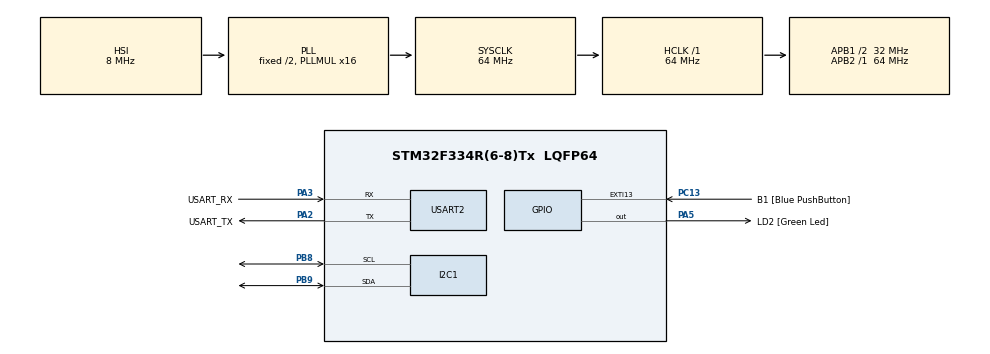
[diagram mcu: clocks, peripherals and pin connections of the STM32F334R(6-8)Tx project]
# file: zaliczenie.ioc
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I2C1.Timing=0x00201D2B
Mcu.Family=STM32F3
Mcu.Name=STM32F334R(6-8)Tx
Mcu.Package=LQFP64
NVIC.PriorityGroup=NVIC_PRIORITYGROUP_0
PA13.GPIO_Label=TMS
PA13.Mode=Serial_Wire
PA13.Signal=SYS_JTMS-SWDIO
PA14.GPIO_Label=TCK
PA14.Mode=Serial_Wire
PA14.Signal=SYS_JTCK-SWCLK
PA2.GPIO_Label=USART_TX
PA2.Mode=Asynchronous
PA2.Signal=USART2_TX
PA3.GPIO_Label=USART_RX
PA3.Mode=Asynchronous
PA3.Signal=USART2_RX
PA5.GPIO_Label=LD2 [Green Led]
PA5.Signal=GPIO_Output
PB3.GPIO_Label=SWO
PB3.Signal=SYS_JTDO-TRACESWO
PB8.Mode=I2C
PB8.Signal=I2C1_SCL
PB9.Mode=I2C
PB9.Signal=I2C1_SDA
PC13.GPIO_Label=B1 [Blue PushButton]
PC13.GPIO_ModeDefaultEXTI=GPIO_MODE_IT_FALLING
PC13.Signal=GPXTI13
PC14\ /\ OSC32_IN.Mode=LSE-External-Oscillator
PC14\ /\ OSC32_IN.Signal=RCC_OSC32_IN
PC15\ /\ OSC32_OUT.GPIO_Label=RCC_OSC32_OUT
PC15\ /\ OSC32_OUT.Mode=LSE-External-Oscillator
PC15\ /\ OSC32_OUT.Signal=RCC_OSC32_OUT
PF0\ /\ OSC_IN.Mode=HSE-External-Clock-Source
PF0\ /\ OSC_IN.Signal=RCC_OSC_IN
PF1\ /\ OSC_OUT.Signal=RCC_OSC_OUT
ProjectManager.HeapSize=0x200
ProjectManager.StackSize=0x400
ProjectManager.TargetToolchain=CMake
RCC.AHBFreq_Value=64000000
RCC.APB1CLKDivider=RCC_HCLK_DIV2
RCC.APB1Freq_Value=32000000
RCC.APB1TimFreq_Value=64000000
RCC.APB2Freq_Value=64000000
RCC.APB2TimFreq_Value=64000000
RCC.CortexFreq_Value=64000000
RCC.FLatency-AdvancedSettings=FLASH_LATENCY_2
RCC.HCLKFreq_Value=64000000
RCC.HSE_VALUE=8000000
RCC.HSI_VALUE=8000000
RCC.PLLMUL=RCC_PLL_MUL16
RCC.SYSCLKFreq_VALUE=64000000
RCC.SYSCLKSourceVirtual=RCC_SYSCLKSOURCE_PLLCLK
USART2.VirtualMode-Asynchronous=VM_ASYNC
board=NUCLEO-F334R8

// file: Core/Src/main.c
/* USER CODE BEGIN Header */
/**
  ******************************************************************************
  * @file           : main.c
  * @brief          : Main program body
  ******************************************************************************
  * @attention
  *
  * Copyright (c) 2026 STMicroelectronics.
  * All rights reserved.
  *
  * This software is licensed under terms that can be found in the LICENSE file
  * in the root directory of this software component.
  * If no LICENSE file comes with this software, it is provided AS-IS.
  *
  ******************************************************************************
  */
/* USER CODE END Header */
#include "main.h"

/* USER CODE BEGIN Includes */
#include <stdio.h>
#include <math.h>
#include "string.h"
#include <stdlib.h>

/* USER CODE END Includes */

I2C_HandleTypeDef hi2c1;

UART_HandleTypeDef huart2;

/* USER CODE BEGIN PV */
#define BMP180_ADDRESS 0xEE // Adres 0x77 przesunięty w lewo o 1
#define MPU6050_ADDR 0xD0 // Adres I2C MPU6050

int16_t Gyro_X_RAW, Gyro_Y_RAW, Gyro_Z_RAW;
float Gyro_X, Gyro_Y, Gyro_Z;

// Zmienne dla Akcelerometru
int16_t Acc_X_RAW, Acc_Y_RAW, Acc_Z_RAW;
float Acc_X, Acc_Y, Acc_Z;

// Zmienne kątów (Fuzja)
float Roll = 0.0f;
float Pitch = 0.0f;
float Yaw = 0.0f;

// Czas dla filtra
uint32_t lastTime = 0;

// Bufor UART (zwiększony dla bezpieczeństwa)
char uartBuf[200];

// Zmienne kalibracyjne (zgodnie z notą katalogową BMP180)
short AC1, AC2, AC3;
unsigned short AC4, AC5, AC6;
short B1, B2;
short MB, MC, MD;

// Zmienne do obliczeń
long B5;
short OSS = 0; // Oversampling setting (0: ultra low power ... 3: ultra high res)

// Wyniki
float Temperature = 0.0f;
float Pressure = 0.0f;
float Altitude = 0.0f;

// Bufor UART
/* USER CODE END PV */

void SystemClock_Config(void);
static void MX_GPIO_Init(void);
static void MX_I2C1_Init(void);
static void MX_USART2_UART_Init(void);
/* USER CODE BEGIN PFP */
void MPU6050_Read_Accel(void);
void BMP180_ReadCalibration(void);
uint16_t BMP180_ReadUT(void);
uint32_t BMP180_ReadUP(void);
void BMP180_Calculate(void);
void MPU6050_Init(void);
void MPU6050_Read_Gyro(void);
/* USER CODE END PFP */

int main(void)
{

  /* MCU Configuration--------------------------------------------------------*/

  /* Reset of all peripherals, Initializes the Flash interface and the Systick. */
  HAL_Init();

  /* Configure the system clock */
  SystemClock_Config();

  /* Initialize all configured peripherals */
  MX_GPIO_Init();
  MX_I2C1_Init();
  MX_USART2_UART_Init();
  /* USER CODE BEGIN 2 */
  printf("Inicjalizacja BMP180...\r\n");
  BMP180_ReadCalibration();
  printf("Inicjalizacja MPU6050...\r\n");
  MPU6050_Init();
  lastTime = HAL_GetTick();
/* USER CODE END 2 */

  /* Infinite loop */
  /* USER CODE BEGIN WHILE */
while (1)
  {
    // 1. Pobranie danych
    BMP180_Calculate();
    MPU6050_Read_Gyro();
    MPU6050_Read_Accel();

    // 2. Czas dla filtra
    uint32_t currentTime = HAL_GetTick();
    float dt = (float)(currentTime - lastTime) / 1000.0f;
    if (dt <= 0) dt = 0.01f;
    lastTime = currentTime;

    // 3. Obliczenia fuzji (zmienne float są OK do obliczeń, ale nie do sprintf)
    float accRoll = atan2f(Acc_Y, Acc_Z) * 57.2957f;
    float accPitch = atan2f(-Acc_X, sqrtf(Acc_Y * Acc_Y + Acc_Z * Acc_Z)) * 57.2957f;

    Roll = 0.98f * (Roll + Gyro_X * dt) + 0.02f * accRoll;
    Pitch = 0.98f * (Pitch + Gyro_Y * dt) + 0.02f * accPitch;
    Yaw += Gyro_Z * dt;

    // --- 4. KONWERSJA FLOAT NA INTEGER (Ręczne przygotowanie części dziesiętnych) ---

    // Temperatura (1 miejsce po przecinku)
    int temp_i = (int)Temperature;
    int temp_f = abs((int)((Temperature - temp_i) * 10));

    // Wysokość (1 miejsce po przecinku)
    int alt_i = (int)Altitude;
    int alt_f = abs((int)((Altitude - alt_i) * 10));

    // Kąty (Roll, Pitch, Yaw - 1 miejsce po przecinku)
    int r_i = (int)Roll;
    int r_f = abs((int)((Roll - r_i) * 10));

    int p_i = (int)Pitch;
    int p_f = abs((int)((Pitch - p_i) * 10));

    int y_i = (int)Yaw;
    int y_f = abs((int)((Yaw - y_i) * 10));

    // --- 5. WYSYŁKA TYLKO JAKO INTEGER ---
    // Używamy %d dla części całkowitej i %d dla ułamka
    //memset(uartBuf, 0, sizeof(uartBuf));
    int len = sprintf(uartBuf, "[BARO] T:%d.%dC P:%dPa A:%d.%dm | [ATT] R:%d.%d P:%d.%d Y:%d.%d\r\n",
                      temp_i, temp_f, (int)Pressure, alt_i, alt_f,
                      r_i, r_f, p_i, p_f, y_i, y_f);

    HAL_UART_Transmit(&huart2, (uint8_t*)uartBuf, len, 100);

    HAL_GPIO_TogglePin(LD2_GPIO_Port, LD2_Pin);
    HAL_Delay(50); // Zwiększyłem opóźnienie, aby terminal nadążył z wyświetlaniem
  }
  }

void SystemClock_Config(void)
{
  RCC_OscInitTypeDef RCC_OscInitStruct = {0};
  RCC_ClkInitTypeDef RCC_ClkInitStruct = {0};
  RCC_PeriphCLKInitTypeDef PeriphClkInit = {0};

  /** Initializes the RCC Oscillators according to the specified parameters
  * in the RCC_OscInitTypeDef structure.
  */
  RCC_OscInitStruct.OscillatorType = RCC_OSCILLATORTYPE_HSI;
  RCC_OscInitStruct.HSIState = RCC_HSI_ON;
  RCC_OscInitStruct.HSICalibrationValue = RCC_HSICALIBRATION_DEFAULT;
  RCC_OscInitStruct.PLL.PLLState = RCC_PLL_ON;
  RCC_OscInitStruct.PLL.PLLSource = RCC_PLLSOURCE_HSI;
  RCC_OscInitStruct.PLL.PLLMUL = RCC_PLL_MUL16;
  if (HAL_RCC_OscConfig(&RCC_OscInitStruct) != HAL_OK)
  {
    Error_Handler();
  }

  /** Initializes the CPU, AHB and APB buses clocks
  */
  RCC_ClkInitStruct.ClockType = RCC_CLOCKTYPE_HCLK|RCC_CLOCKTYPE_SYSCLK
                              |RCC_CLOCKTYPE_PCLK1|RCC_CLOCKTYPE_PCLK2;
  RCC_ClkInitStruct.SYSCLKSource = RCC_SYSCLKSOURCE_PLLCLK;
  RCC_ClkInitStruct.AHBCLKDivider = RCC_SYSCLK_DIV1;
  RCC_ClkInitStruct.APB1CLKDivider = RCC_HCLK_DIV2;
  RCC_ClkInitStruct.APB2CLKDivider = RCC_HCLK_DIV1;

  if (HAL_RCC_ClockConfig(&RCC_ClkInitStruct, FLASH_LATENCY_2) != HAL_OK)
  {
    Error_Handler();
  }
  PeriphClkInit.PeriphClockSelection = RCC_PERIPHCLK_I2C1;
  PeriphClkInit.I2c1ClockSelection = RCC_I2C1CLKSOURCE_HSI;
  if (HAL_RCCEx_PeriphCLKConfig(&PeriphClkInit) != HAL_OK)
  {
    Error_Handler();
  }
}

static void MX_I2C1_Init(void)
{

  hi2c1.Instance = I2C1;
  hi2c1.Init.Timing = 0x00201D2B;
  hi2c1.Init.OwnAddress1 = 0;
  hi2c1.Init.AddressingMode = I2C_ADDRESSINGMODE_7BIT;
  hi2c1.Init.DualAddressMode = I2C_DUALADDRESS_DISABLE;
  hi2c1.Init.OwnAddress2 = 0;
  hi2c1.Init.OwnAddress2Masks = I2C_OA2_NOMASK;
  hi2c1.Init.GeneralCallMode = I2C_GENERALCALL_DISABLE;
  hi2c1.Init.NoStretchMode = I2C_NOSTRETCH_DISABLE;
  if (HAL_I2C_Init(&hi2c1) != HAL_OK)
  {
    Error_Handler();
  }

  /** Configure Analogue filter
  */
  if (HAL_I2CEx_ConfigAnalogFilter(&hi2c1, I2C_ANALOGFILTER_ENABLE) != HAL_OK)
  {
    Error_Handler();
  }

  /** Configure Digital filter
  */
  if (HAL_I2CEx_ConfigDigitalFilter(&hi2c1, 0) != HAL_OK)
  {
    Error_Handler();
  }

}

static void MX_USART2_UART_Init(void)
{

  huart2.Instance = USART2;
  huart2.Init.BaudRate = 9600;
  huart2.Init.WordLength = UART_WORDLENGTH_8B;
  huart2.Init.StopBits = UART_STOPBITS_1;
  huart2.Init.Parity = UART_PARITY_NONE;
  huart2.Init.Mode = UART_MODE_TX_RX;
  huart2.Init.HwFlowCtl = UART_HWCONTROL_NONE;
  huart2.Init.OverSampling = UART_OVERSAMPLING_16;
  huart2.Init.OneBitSampling = UART_ONE_BIT_SAMPLE_DISABLE;
  huart2.AdvancedInit.AdvFeatureInit = UART_ADVFEATURE_NO_INIT;
  if (HAL_UART_Init(&huart2) != HAL_OK)
  {
    Error_Handler();
  }

}

static void MX_GPIO_Init(void)
{
  GPIO_InitTypeDef GPIO_InitStruct = {0};

  /* GPIO Ports Clock Enable */
  __HAL_RCC_GPIOC_CLK_ENABLE();
  __HAL_RCC_GPIOF_CLK_ENABLE();
  __HAL_RCC_GPIOA_CLK_ENABLE();
  __HAL_RCC_GPIOB_CLK_ENABLE();

  /*Configure GPIO pin Output Level */
  HAL_GPIO_WritePin(LD2_GPIO_Port, LD2_Pin, GPIO_PIN_RESET);

  /*Configure GPIO pin : B1_Pin */
  GPIO_InitStruct.Pin = B1_Pin;
  GPIO_InitStruct.Mode = GPIO_MODE_IT_FALLING;
  GPIO_InitStruct.Pull = GPIO_NOPULL;
  HAL_GPIO_Init(B1_GPIO_Port, &GPIO_InitStruct);

  /*Configure GPIO pin : LD2_Pin */
  GPIO_InitStruct.Pin = LD2_Pin;
  GPIO_InitStruct.Mode = GPIO_MODE_OUTPUT_PP;
  GPIO_InitStruct.Pull = GPIO_NOPULL;
  GPIO_InitStruct.Speed = GPIO_SPEED_FREQ_LOW;
  HAL_GPIO_Init(LD2_GPIO_Port, &GPIO_InitStruct);

}

/* USER CODE BEGIN 4 */
void MPU6050_Read_Accel(void)
{
    uint8_t Rec_Data[6];
    // Odczyt 6 rejestrów akcelerometru od 0x3B
    HAL_I2C_Mem_Read(&hi2c1, MPU6050_ADDR, 0x3B, 1, Rec_Data, 6, 1000);

    Acc_X_RAW = (int16_t)(Rec_Data[0] << 8 | Rec_Data[1]);
    Acc_Y_RAW = (int16_t)(Rec_Data[2] << 8 | Rec_Data[3]);
    Acc_Z_RAW = (int16_t)(Rec_Data[4] << 8 | Rec_Data[5]);

    // Konwersja na jednostki 'g' (dla zakresu +/- 2g dzielnik to 16384)
    Acc_X = Acc_X_RAW / 16384.0f;
    Acc_Y = Acc_Y_RAW / 16384.0f;
    Acc_Z = Acc_Z_RAW / 16384.0f;
}
// Odczyt danych kalibracyjnych z EEPROM czujnika
void BMP180_ReadCalibration(void)
{
    uint8_t Callib_Data[22];
    HAL_I2C_Mem_Read(&hi2c1, BMP180_ADDRESS, 0xAA, 1, Callib_Data, 22, 1000);

    AC1 = ((short)Callib_Data[0] << 8) | Callib_Data[1];
    AC2 = ((short)Callib_Data[2] << 8) | Callib_Data[3];
    AC3 = ((short)Callib_Data[4] << 8) | Callib_Data[5];
    AC4 = ((unsigned short)Callib_Data[6] << 8) | Callib_Data[7];
    AC5 = ((unsigned short)Callib_Data[8] << 8) | Callib_Data[9];
    AC6 = ((unsigned short)Callib_Data[10] << 8) | Callib_Data[11];
    B1  = ((short)Callib_Data[12] << 8) | Callib_Data[13];
    B2  = ((short)Callib_Data[14] << 8) | Callib_Data[15];
    MB  = ((short)Callib_Data[16] << 8) | Callib_Data[17];
    MC  = ((short)Callib_Data[18] << 8) | Callib_Data[19];
    MD  = ((short)Callib_Data[20] << 8) | Callib_Data[21];
}

// Odczyt surowej temperatury (Uncompensated Temperature)
uint16_t BMP180_ReadUT(void)
{
    uint8_t rawData[2];
    uint8_t ctrl = 0x2E;

    // Zapisz 0x2E do rejestru 0xF4
    HAL_I2C_Mem_Write(&hi2c1, BMP180_ADDRESS, 0xF4, 1, &ctrl, 1, 1000);

    // Czekaj min 4.5ms
    HAL_Delay(5);

    // Odczytaj 0xF6 (MSB) i 0xF7 (LSB)
    HAL_I2C_Mem_Read(&hi2c1, BMP180_ADDRESS, 0xF6, 1, rawData, 2, 1000);

    return ((rawData[0] << 8) | rawData[1]);
}

// Odczyt surowego ciśnienia (Uncompensated Pressure)
uint32_t BMP180_ReadUP(void)
{
    uint8_t rawData[3];
    uint8_t ctrl = 0x34 + (OSS << 6);

    // Zapisz komendę do 0xF4
    HAL_I2C_Mem_Write(&hi2c1, BMP180_ADDRESS, 0xF4, 1, &ctrl, 1, 1000);

    // Czekaj zależnie od OSS (dla OSS=0: 4.5ms, OSS=3: 25.5ms)
    switch (OSS) {
        case 0: HAL_Delay(5); break;
        case 1: HAL_Delay(8); break;
        case 2: HAL_Delay(14); break;
        case 3: HAL_Delay(26); break;
    }

    // Odczytaj 3 bajty od 0xF6 (MSB, LSB, XLSB)
    HAL_I2C_Mem_Read(&hi2c1, BMP180_ADDRESS, 0xF6, 1, rawData, 3, 1000);

    return (((rawData[0] << 16) | (rawData[1] << 8) | rawData[2]) >> (8 - OSS));
}

// Główna funkcja obliczeniowa (Algorytm Bosch)
void BMP180_Calculate(void)
{
    long x1, x2, x3, b3, b6, p;
    unsigned long b4, b7;

    // 1. Oblicz Temperaturę
    uint16_t ut = BMP180_ReadUT();

    x1 = (ut - (long)AC6) * (long)AC5 >> 15;
    x2 = ((long)MC << 11) / (x1 + (long)MD);
    B5 = x1 + x2;

    Temperature = (B5 + 8) >> 4;
    Temperature = Temperature / 10.0f; // Wynik w stopniach Celsjusza

    // 2. Oblicz Ciśnienie
    uint32_t up = BMP180_ReadUP();

    b6 = B5 - 4000;
    x1 = (B2 * (b6 * b6 >> 12)) >> 11;
    x2 = AC2 * b6 >> 11;
    x3 = x1 + x2;
    b3 = (((long)AC1 * 4 + x3) << OSS) + 2;
    b3 = (b3 + 2) >> 2; // BUGFIX dla int math

    x1 = AC3 * b6 >> 13;
    x2 = (B1 * (b6 * b6 >> 12)) >> 16;
    x3 = ((x1 + x2) + 2) >> 2;
    b4 = (AC4 * (unsigned long)(x3 + 32768)) >> 15;
    b7 = ((unsigned long)up - b3) * (50000 >> OSS);

    if (b7 < 0x80000000) {
        p = (b7 * 2) / b4;
    } else {
        p = (b7 / b4) * 2;
    }

    x1 = (p >> 8) * (p >> 8);
    x1 = (x1 * 3038) >> 16;
    x2 = (-7357 * p) >> 16;

    p = p + ((x1 + x2 + 3791) >> 4);

    Pressure = (float)p; // Wynik w Pa

    // 3. Oblicz Wysokość (Wzór barometryczny)
    Altitude = 44330.0f * (1.0f - powf(Pressure / 101325.0f, 1.0f / 5.255f));
}

void MPU6050_Init(void)
{
    uint8_t check, Data;
    HAL_I2C_Mem_Read(&hi2c1, MPU6050_ADDR, 0x75, 1, &check, 1, 1000);

    if (check == 0x68)
    {
        Data = 0; // Wybudzenie
        HAL_I2C_Mem_Write(&hi2c1, MPU6050_ADDR, 0x6B, 1, &Data, 1, 1000);

        Data = 0x00; // Accel config +/- 2g
        HAL_I2C_Mem_Write(&hi2c1, MPU6050_ADDR, 0x1C, 1, &Data, 1, 1000);

        Data = 0x00; // Gyro config 250 dps
        HAL_I2C_Mem_Write(&hi2c1, MPU6050_ADDR, 0x1B, 1, &Data, 1, 1000);
    }
}

void MPU6050_Read_Gyro(void)
{
    uint8_t Rec_Data[6];

    // Odczytaj 6 bajtów zaczynając od rejestru 0x43 (GYRO_XOUT_H)
    // Kolejność w pamięci: X_H, X_L, Y_H, Y_L, Z_H, Z_L
    HAL_I2C_Mem_Read(&hi2c1, MPU6050_ADDR, 0x43, 1, Rec_Data, 6, 1000);

    // Łączenie bajtów w liczby 16-bitowe ze znakiem
    Gyro_X_RAW = (int16_t)(Rec_Data[0] << 8 | Rec_Data[1]);
    Gyro_Y_RAW = (int16_t)(Rec_Data[2] << 8 | Rec_Data[3]);
    Gyro_Z_RAW = (int16_t)(Rec_Data[4] << 8 | Rec_Data[5]);

    // Konwersja na stopnie na sekundę (dps)
    // Dla domyślnego zakresu +/- 250dps, dzielnik wynosi 131.0
    Gyro_X = Gyro_X_RAW / 131.0f;
    Gyro_Y = Gyro_Y_RAW / 131.0f;
    Gyro_Z = Gyro_Z_RAW / 131.0f;
}

/* USER CODE END 4 */

void Error_Handler(void)
{
  __disable_irq();
  while (1)
  {
  }
}
